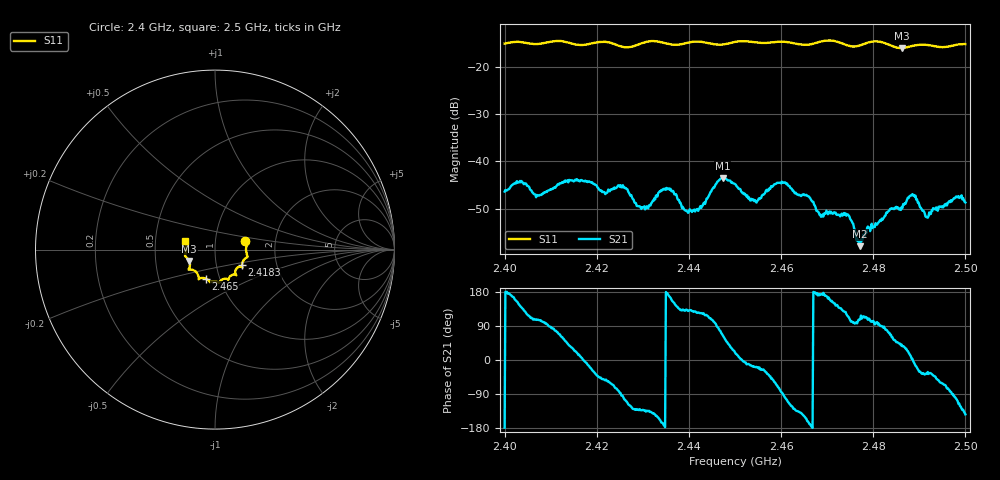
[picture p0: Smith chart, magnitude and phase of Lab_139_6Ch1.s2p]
# Hz S RI R 50
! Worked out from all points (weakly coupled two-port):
!   601 points, 2.4 GHz to 2.5 GHz, reference 50 ohm
!   highest |S21| = -43.49 dB at 2.4473 GHz (marker M1); lowest = -57.9 dB at 2.4772 GHz (marker M2)
!   lowest |S11| = -16.1 dB at 2.4862 GHz (marker M3), VSWR 1.37, Z = 37.2 - j4.82 ohm
!   |S11| at or under -10 dB: start of sweep to end of sweep
!   S12 and S22 are empty: the file has one direction only
!   S11 on the Smith chart (normalised r, x): 2.4 GHz: 1.40, +0.14; 2.4183 GHz: 1.33, -0.24; 2.465 GHz: 0.86, -0.28; 2.5 GHz: 0.71, +0.07
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2.4e9  0.1687 0.047  -0.0048 -0.000114  0 0  0 0
2.416667e9  0.1547 -0.0681  0.00631 0.00069  0 0  0 0
2.418333e9  0.1501 -0.0869  0.00593 -0.00168  0 0  0 0
2.426167e9  0.1242 -0.1012  -0.00137 -0.00503  0 0  0 0
2.43e9  0.114 -0.1368  -0.00216 -0.00245  0 0  0 0
2.433333e9  0.1175 -0.141  -0.00408 -0.00218  0 0  0 0
2.436e9  0.1002 -0.1397  -0.00495 0.00138  0 0  0 0
2.441e9  0.0751 -0.1672  -0.00183 0.00242  0 0  0 0
2.447333e9  0.0414 -0.1659  0.00283 0.00606  0 0  0 0
2.45e9  0.0262 -0.1803  0.00542 0.00194  0 0  0 0
2.454167e9  0.0135 -0.1805  0.00361 -0.00119  0 0  0 0
2.459667e9  -0.0256 -0.1814  0.00137 -0.00579  0 0  0 0
2.465e9  -0.0524 -0.1615  -0.0038 -0.00236  0 0  0 0
2.466667e9  -0.0713 -0.1576  -0.00381 -0.000208  0 0  0 0
2.468667e9  -0.0877 -0.1618  -0.00258 0.000307  0 0  0 0
2.4745e9  -0.0973 -0.1357  -0.00118 0.00249  0 0  0 0
2.477167e9  -0.1235 -0.1133  -0.000397 0.00121  0 0  0 0
2.483333e9  -0.1412 -0.0965  0.000906 0.00285  0 0  0 0
2.486167e9  -0.1436 -0.0632  0.00251 0.00214  0 0  0 0
2.488333e9  -0.1586 -0.0444  0.00436 0.000262  0 0  0 0
2.491833e9  -0.1665 -0.0296  0.00217 -0.00134  0 0  0 0
2.5e9  -0.1665 0.0467  -0.00296 -0.00219  0 0  0 0
